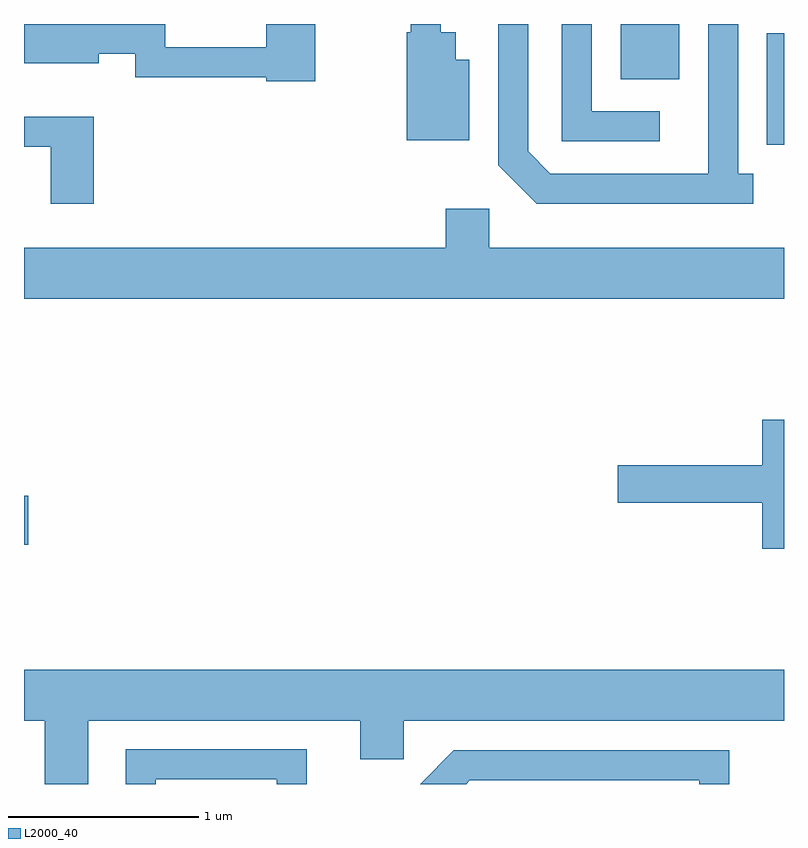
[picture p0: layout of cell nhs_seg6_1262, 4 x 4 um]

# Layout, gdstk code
import gdstk
lib = gdstk.Library(unit=1e-6, precision=1e-09)
def R(c, l, rs):  # rectangles x0, y0, x1, y1
    for r in rs: c.add(gdstk.rectangle(r[:2], r[2:], *l))
def P(c, l, *ps):  # polygons
    for p in ps: c.add(gdstk.Polygon(p, *l))
L2000_40 = (2000, 40)

nhs_seg6_1262 = lib.new_cell('nhs_seg6_1262')
R(nhs_seg6_1262, L2000_40, [(223.611,1535.421,223.634,1535.679), (227.521,1537.526,227.611,1538.113), (226.751,1537.871,227.059,1538.162)])
P(nhs_seg6_1262, L2000_40, [(226.958,1537.704),(226.599,1537.704),(226.599,1538.162),(226.441,1538.162),(226.441,1537.546),(226.958,1537.546)],
  [(225.954,1537.974),(225.884,1537.974),(225.884,1538.119),(225.804,1538.119),(225.804,1538.162),(225.646,1538.162),(225.646,1538.119),(225.626,1538.119),(225.626,1537.551),(225.954,1537.551)],
  [(225.144,1538.162),(224.886,1538.162),(224.886,1538.039),(224.354,1538.039),(224.354,1538.162),(223.611,1538.162),(223.611,1537.956),(224.004,1537.956),(224.004,1538.006),(224.196,1538.006),(224.196,1537.881),(224.886,1537.881),(224.886,1537.861),(225.144,1537.861)],
  [(227.448,1537.374),(227.369,1537.374),(227.369,1538.162),(227.211,1538.162),(227.211,1537.374),(226.382,1537.374),(226.264,1537.492),(226.264,1538.162),(226.106,1538.162),(226.106,1537.419),(226.309,1537.216),(227.448,1537.216)],
  [(223.979,1537.674),(223.611,1537.674),(223.611,1537.516),(223.751,1537.516),(223.751,1537.216),(223.979,1537.216)],
  [(227.611,1536.984),(226.059,1536.984),(226.059,1537.189),(225.831,1537.189),(225.831,1536.984),(223.611,1536.984),(223.611,1536.716),(227.611,1536.716)],
  [(227.611,1536.079),(227.496,1536.079),(227.496,1535.839),(226.736,1535.839),(226.736,1535.641),(227.496,1535.641),(227.496,1535.401),(227.611,1535.401)],
  [(223.949,1534.496),(225.381,1534.496),(225.381,1534.291),(225.609,1534.291),(225.609,1534.496),(227.611,1534.496),(227.611,1534.764),(223.611,1534.764),(223.611,1534.496),(223.721,1534.496),(223.721,1534.162),(223.949,1534.162)],
  [(224.304,1534.186),(224.941,1534.186),(224.941,1534.162),(225.099,1534.162),(225.099,1534.344),(224.146,1534.344),(224.146,1534.162),(224.304,1534.162)],
  [(225.957,1534.181),(227.166,1534.181),(227.166,1534.162),(227.324,1534.162),(227.324,1534.339),(225.874,1534.339),(225.697,1534.162),(225.938,1534.162)])

lib.write_gds('nhs_seg6_1262.gds')
